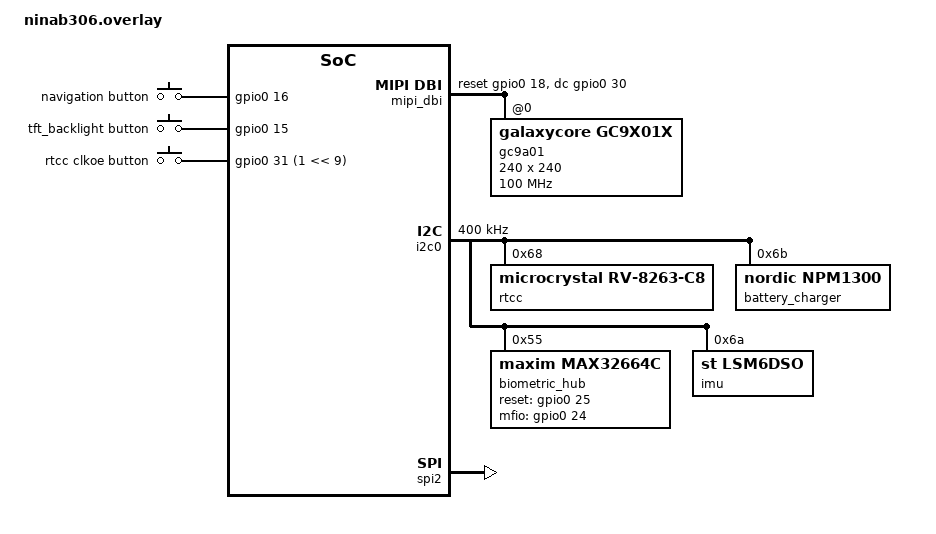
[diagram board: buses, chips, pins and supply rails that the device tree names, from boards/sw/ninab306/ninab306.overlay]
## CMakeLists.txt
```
# SPDX-License-Identifier: Apache-2.0

cmake_minimum_required(VERSION 3.20.0)

# set(DTC_OVERLAY_FILE "${CMAKE_CURRENT_SOURCE_DIR}/ninab306.overlay")

find_package(Zephyr REQUIRED HINTS $ENV{ZEPHYR_BASE})
project(my_app)

target_sources(app PRIVATE src/main.c)
```

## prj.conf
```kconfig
# Enable sensor support
CONFIG_LSM6DSO=y
CONFIG_SENSOR_MAX32664C=y
# CONFIG_MAX32664C_USE_FIRMWARE_LOADER=y
CONFIG_MAX32664C_USE_EXTERNAL_ACC=y
CONFIG_RTC_RV8263=y

# enable multi-function devices
# enable multi-function device which is the npm1300
CONFIG_MFD=y
CONFIG_MFD_NPM13XX=y

# enable regulator driver for npm1300
CONFIG_REGULATOR=y
CONFIG_REGULATOR_NPM13XX=y

CONFIG_CHARGER=y
CONFIG_NPM13XX_CHARGER=y

CONFIG_DISPLAY=y
CONFIG_GC9X01X=y

CONFIG_APP_EVENT_MANAGER=y
CONFIG_SHELL=y
CONFIG_APP_EVENT_MANAGER_SHELL=y
```

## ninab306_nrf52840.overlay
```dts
// To get started, press Ctrl+Space to bring up the completion menu and view the available nodes.

// You can also use the buttons in the sidebar to perform actions on nodes.
// Actions currently available include:

// * Enabling / disabling the node
// * Adding the bus to a bus
// * Removing the node
// * Connecting ADC channels

// For more help, browse the DeviceTree documentation at https://docs.zephyrproject.org/latest/guides/dts/index.html
// You can also visit the nRF DeviceTree extension documentation at https://docs.nordicsemi.com/bundle/nrf-connect-vscode/page/guides/ncs_configure_app.html#devicetree-support-in-the-extension
#include <zephyr/dt-bindings/display/panel.h>
#include <zephyr/dt-bindings/mipi_dbi/mipi_dbi.h>

/ {
	chosen {
		zephyr,display = &gc9a01;
	};

    mipi_dbi {
        compatible = "zephyr,mipi-dbi-spi";
        status = "okay";
        reset-gpios = <&gpio0 18 GPIO_ACTIVE_HIGH>;
        dc-gpios = <&gpio0 30 GPIO_ACTIVE_HIGH>;
        spi-dev = <&spi2>;
        write-only;
        #address-cells = <1>;
        #size-cells = <0>;

        gc9a01: gc9a01@0 {
            status = "okay";
            compatible = "galaxycore,gc9x01x";
            reg = <0>;
            mipi-max-frequency = <100000000>;
            pixel-format = <PANEL_PIXEL_FORMAT_RGB_565>;
            width = <240>;
            height = <240>;
        };
    };

    buttons {
        button2: button_2 {
			label = "rtcc clkoe button";
			gpios = <&gpio0 31 (1 << 9)>;
		};
    };

	aliases {
		navigation = &button0;
		bcklight = &button1;
		clkoe = &button2;
	};
};
/delete-node/ &{/pin-controller/spi2_sleep/group1/};
/delete-node/ &{/alias/};
```

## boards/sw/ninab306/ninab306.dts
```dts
/dts-v1/;
#include <nordic/nrf52840_qiaa.dtsi>
#include "ninab306-pinctrl.dtsi"

/ {
	model = "custom board";
	compatible = "sw,ninab306";

	chosen {
		zephyr,sram = &sram0;
		zephyr,flash = &flash0;
		zephyr,code-partition = &slot0_partition;
		zephyr,console = &cdc_acm_uart0;
        zephyr,shell-uart = &cdc_acm_uart0;
        zephyr,bt-uart = &cdc_acm_uart0;
		
	};
};

&flash0 {
	partitions {
		compatible = "fixed-partitions";
		#address-cells = <1>;
		#size-cells = <1>;

		boot_partition: partition@0 {
			label = "mcuboot";
			reg = <0x00000000 DT_SIZE_K(48)>;
		};

		slot0_partition: partition@c000 {
			label = "image-0";
			reg = <0x0000c000 DT_SIZE_K(472)>;
		};

		slot1_partition: partition@82000 {
			label = "image-1";
			reg = <0x00082000 DT_SIZE_K(472)>;
		};

		storage_partition: partition@f8000 {
			label = "storage";
			reg = <0x000f8000 DT_SIZE_K(32)>;
		};
	};
};

&gpio0 {
	status = "okay";
};

&gpiote {
	status = "okay";
};

&gpio1 {
	status = "okay";
};

&usbd {
	status = "okay";
	 cdc_acm_uart0: cdc_acm_uart0 {
        compatible = "zephyr,cdc-acm-uart";
	 };
};

&pinctrl {
	i2c0_default: i2c0_default {
		group1 {
			psels = <NRF_PSEL(TWIM_SCL, 0, 21)>, <NRF_PSEL(TWIM_SDA, 0, 22)>;
		};
	};

	i2c0_sleep: i2c0_sleep {
		group1 {
			psels = <NRF_PSEL(TWIM_SCL, 0, 21)>;
		};
	};

	spi2_default: spi2_default {
		group1 {
			psels = <NRF_PSEL(SPIM_MOSI, 1, 12)>,
					<NRF_PSEL(SPIM_SCK, 1, 13)>,
					<NRF_PSEL(SPIM_MISO, 0, 14)>;
		};
	};

	spi2_sleep: spi2_sleep {
		group1 {
			psels = <NRF_PSEL(SPIM_MOSI, 1, 12)>;
		};
	};
};
```

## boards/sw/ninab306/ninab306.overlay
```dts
// To get started, press Ctrl+Space to bring up the completion menu and view the available nodes.

// You can also use the buttons in the sidebar to perform actions on nodes.
// Actions currently available include:

// * Enabling / disabling the node
// * Adding the bus to a bus
// * Removing the node
// * Connecting ADC channels

// For more help, browse the DeviceTree documentation at https://docs.zephyrproject.org/latest/guides/dts/index.html
// You can also visit the nRF DeviceTree extension documentation at https://docs.nordicsemi.com/bundle/nrf-connect-vscode/page/guides/ncs_configure_app.html#devicetree-support-in-the-extension
#include <zephyr/dt-bindings/display/panel.h>
#include <zephyr/dt-bindings/mipi_dbi/mipi_dbi.h>

/ {
	chosen {
		zephyr,display = &gc9a01;
	};

    mipi_dbi {
        compatible = "zephyr,mipi-dbi-spi";
        status = "okay";
        reset-gpios = <&gpio0 18 GPIO_ACTIVE_HIGH>;
        dc-gpios = <&gpio0 30 GPIO_ACTIVE_HIGH>;
        spi-dev = <&spi2>;
        write-only;
        #address-cells = <1>;
        #size-cells = <0>;

        gc9a01: gc9a01@0 {
            status = "okay";
            compatible = "galaxycore,gc9x01x";
            reg = <0>;
            mipi-max-frequency = <100000000>;
            pixel-format = <PANEL_PIXEL_FORMAT_RGB_565>;
            width = <240>;
            height = <240>;
        };
    };

    buttons {
        compatible = "gpio-keys";
		button0: button_0 {
			label = "navigation button";
			gpios = <&gpio0 16 0>;
		};

		button1: button_1 {
			label = "tft_backlight button";
			gpios = <&gpio0 15 0>;
		};
        button2: button_2 {
			label = "rtcc clkoe button";
			gpios = <&gpio0 31 (1 << 9)>;
		};
    };

	aliases {
		navigation = &button0;
		bcklight = &button1;
		clkoe = &button2;
	};
};

&i2c0 {
	compatible = "nordic,nrf-twim";
	status = "okay";
	pinctrl-0 = <&i2c0_default>;
	pinctrl-1 = <&i2c0_sleep>;
	pinctrl-names = "default", "sleep";
	clock-frequency = <I2C_BITRATE_FAST>;

	rtcc: rv-8263-c8@68 {
		compatible = "microcrystal,rv-8263-c8";
		reg = <0x68>;
		clkout = <32768>;
		status = "okay";
	};

	battery_charger: npm1300@6b {
		compatible = "nordic,npm1300";
		reg = <0x6b>;

		npm_charger {
            compatible = "nordic,npm1300-charger";
            status = "okay";
            term-microvolt = <4200000>;
            current-microamp = <32000>;
            dischg-limit-microamp = <1000000>;
            term-current-percent = <20>;
            vbus-limit-microamp = <1500000>;
            thermistor-ohms = <0>;
            thermistor-beta = <0>;
            charging-enable;

        };

        npm_regulators {
            compatible = "nordic,npm1300-regulator";

            BUCK1 {
                regulator-boot-on;
                // regulator-initial-mode = <NPM13XX_BUCK_MODE_AUTO>;
            };
            BUCK2 {
                regulator-boot-off;
            };
            LDO1 {
                regulator-boot-off;
            };
            LDO2 {
                regulator-boot-off;
            };
        };
	};

	biometric_hub: max32664c@55 {
		compatible = "maxim,max32664c";
		reg = <0x55>;
		status = "okay";
		reset-gpios = <&gpio0 25 GPIO_ACTIVE_HIGH>;
		mfio-gpios = <&gpio0 24 GPIO_ACTIVE_HIGH>;
		hr-config = [00 01];
		spo2-config = [11 21];
		led-current = [3F 3F 3F];
		min-sampling-rate = <400>;
		max-sampling-rate = <400>;
		use-max86141;
	};

	zephyr,deferred-init;
	imu: lsm6dso@6a {
		compatible = "st,lsm6dso";
		reg = <0x6a>;
		drdy-pulsed;
		accel-odr = <1>;
		accel-pm = <2>;
		accel-range = <3>;
		gyro-odr = <1>;
		gyro-pm = <1>;
		gyro-range = <6>;
		int-pin = <2>;
		status = "okay";
	};
};

&spi2 {
	status = "okay";
	pinctrl-0 = <&spi2_default>;
	pinctrl-1 = <&spi2_sleep>;
	pinctrl-names = "default", "sleep";
	cs-gpios = <&gpio0 29 0>;
	compatible = "nordic,nrf-spi";
};
```

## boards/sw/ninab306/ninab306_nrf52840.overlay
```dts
// To get started, press Ctrl+Space to bring up the completion menu and view the available nodes.

// You can also use the buttons in the sidebar to perform actions on nodes.
// Actions currently available include:

// * Enabling / disabling the node
// * Adding the bus to a bus
// * Removing the node
// * Connecting ADC channels

// For more help, browse the DeviceTree documentation at https://docs.zephyrproject.org/latest/guides/dts/index.html
// You can also visit the nRF DeviceTree extension documentation at https://docs.nordicsemi.com/bundle/nrf-connect-vscode/page/guides/ncs_configure_app.html#devicetree-support-in-the-extension
#include <zephyr/dt-bindings/display/panel.h>
#include <zephyr/dt-bindings/mipi_dbi/mipi_dbi.h>

/ {
	chosen {
		zephyr,display = &gc9a01;
	};

    mipi_dbi {
        compatible = "zephyr,mipi-dbi-spi";
        status = "okay";
        reset-gpios = <&gpio0 18 GPIO_ACTIVE_HIGH>;
        dc-gpios = <&gpio0 30 GPIO_ACTIVE_HIGH>;
        spi-dev = <&spi2>;
        write-only;
        #address-cells = <1>;
        #size-cells = <0>;

        gc9a01: gc9a01@0 {
            status = "okay";
            compatible = "galaxycore,gc9x01x";
            reg = <0>;
            mipi-max-frequency = <100000000>;
            pixel-format = <PANEL_PIXEL_FORMAT_RGB_565>;
            width = <240>;
            height = <240>;
        };
    };

    buttons {
        compatible = "gpio-keys";
		button0: button_0 {
			label = "navigation button";
			gpios = <&gpio0 16 0>;
		};

		button1: button_1 {
			label = "tft_backlight button";
			gpios = <&gpio0 15 0>;
		};
        button2: button_2 {
			label = "rtcc clkoe button";
			gpios = <&gpio0 31 (1 << 9)>;
		};
    };

	aliases {
		navigation = &button0;
		bcklight = &button1;
		clkoe = &button2;
	};
};

&i2c0 {
	compatible = "nordic,nrf-twim";
	status = "okay";
	pinctrl-0 = <&i2c0_default>;
	pinctrl-1 = <&i2c0_sleep>;
	pinctrl-names = "default", "sleep";
	clock-frequency = <I2C_BITRATE_FAST>;

	rtcc: rv-8263-c8@68 {
		compatible = "microcrystal,rv-8263-c8";
		reg = <0x68>;
		clkout = <32768>;
		status = "okay";
	};

	battery_charger: npm1300@6b {
		compatible = "nordic,npm1300";
		reg = <0x6b>;

		npm_charger {
            compatible = "nordic,npm1300-charger";
            status = "okay";
            term-microvolt = <4200000>;
            current-microamp = <500000>;
            dischg-limit-microamp = <1000000>;
            term-current-percent = <20>;
            vbus-limit-microamp = <1500000>;
            thermistor-ohms = <0>;
            thermistor-beta = <0>;
            charging-enable;

        };

        npm_regulators {
            compatible = "nordic,npm1300-regulator";

            BUCK1 {
                regulator-boot-on;
                // regulator-initial-mode = <NPM13XX_BUCK_MODE_AUTO>;
            };
            BUCK2 {
                regulator-boot-off;
            };
            LDO1 {
                regulator-boot-off;
            };
            LDO2 {
                regulator-boot-off;
            };
        };
	};

	biometric_hub: max32664c@55 {
		compatible = "maxim,max32664c";
		reg = <0x55>;
		status = "okay";
		reset-gpios = <&gpio0 25 GPIO_ACTIVE_HIGH>;
		mfio-gpios = <&gpio0 24 GPIO_ACTIVE_HIGH>;
		hr-config = [00 01];
		spo2-config = [11 21];
		led-current = [3F 3F 3F];
		min-sampling-rate = <400>;
		max-sampling-rate = <400>;
		use-max86141;
	};

	zephyr,deferred-init;
	imu: lsm6dso@6a {
		compatible = "st,lsm6dso";
		reg = <0x6a>;
		drdy-pulsed;
		accel-odr = <1>;
		accel-pm = <2>;
		accel-range = <3>;
		gyro-odr = <1>;
		gyro-pm = <1>;
		gyro-range = <6>;
		int-pin = <2>;
		status = "okay";
	};
};

&spi2 {
	status = "okay";
	pinctrl-0 = <&spi2_default>;
	pinctrl-1 = <&spi2_sleep>;
	pinctrl-names = "default", "sleep";
	cs-gpios = <&gpio0 29 0>;
	compatible = "nordic,nrf-spi";
};
/delete-node/ &{/pin-controller/spi2_sleep/group1/};
/delete-node/ &{/alias/};
```

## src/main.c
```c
/*
 * Copyright (c) 2012-2014 Wind River Systems, Inc.
 *
 * SPDX-License-Identifier: Apache-2.0
 */

#include <stdio.h>
#include <zephyr/kernel.h>
#include <zephyr/device.h>
#include <zephyr/devicetree.h>
#include <zephyr/drivers/sensor.h>
#include <zephyr/drivers/gpio.h>
#include <zephyr/drivers/i2c.h>
#include <zephyr/drivers/spi.h>
#include <app_event_manager.h>

int main(void)
{
	printf("Hello World! %s\n", CONFIG_BOARD_TARGET);

	return 0;
}
```
